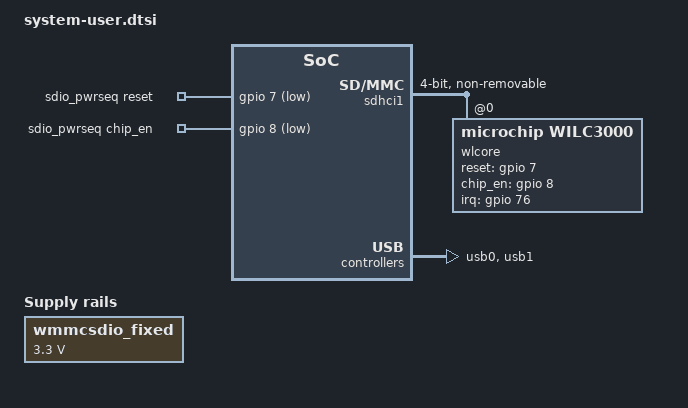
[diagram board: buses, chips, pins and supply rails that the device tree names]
/include/ "system-conf.dtsi"

#include <dt-bindings/interrupt-controller/irq.h>
#include <dt-bindings/gpio/gpio.h>

/ {
	wmmcsdio_fixed: fixedregulator-mmcsdio {
		compatible = "regulator-fixed";
		regulator-name = "wmmcsdio_fixed";
		regulator-min-microvolt = <3300000>;
		regulator-max-microvolt = <3300000>;
		regulator-always-on;
		regulator-boot-on;
	};

	sdio_pwrseq: sdio_pwrseq {
		compatible = "mmc-pwrseq-simple";
		reset-gpios = <&gpio 7 1>;
		chip_en-gpios = <&gpio 8 1>; 
	};
	
	psgtr_usb_clock: psgtr_usb_clock {
		compatible = "fixed-clock";
		#clock-cells = <0>;
		clock-frequency = <26000000>;
	};

	psgtr_dp_clock: psgtr_dp_clock {
		compatible = "fixed-clock";
		#clock-cells = <0>;
		clock-frequency = <27000000>;
	};

	radio_clock: radio_clock {
		compatible = "fixed-clock";
		#clock-cells = <0>;
		clock-frequency = <32768>;
	};
};

/* SD0 only supports 3.3V, no level shifter */
&sdhci0 {
	no-1-8-v;
	disable-wp;
};

&sdhci1 {
	bus-width= <0x4>;
	non-removable;
	disable-wp;
	cap-power-off-card;
	mmc-pwrseq = <&sdio_pwrseq>;
	vqmmc-supply = <&wmmcsdio_fixed>;
	max-frequency = <50000000>;
	status = "okay";
	#address-cells = <1>;
	#size-cells = <0>;
	// wilc_sdio@1 {
	// 	compatible = "microchip,wilc3000";//, "microchip,wilc3000";
	// 	reg = <0>;
	// 	bus-width= <0x4>;
	// 	status = "okay";
	// };
	wlcore: wilc_sdio@0 {
		status = "okay";
		compatible = "microchip,wilc3000";
		reg = <0>;
		interrupt-parent = <&gpio>;
		interrupts = <76 GPIO_ACTIVE_HIGH>;
		clocks = <&radio_clock>;
		clock-names = "rtc";
		reset-gpios = <&gpio 7 GPIO_ACTIVE_HIGH>;
		chip_en-gpios = <&gpio 8 GPIO_ACTIVE_HIGH>;
	};
};

/* USB */
&usb0 {
    status = "okay";
};

&usb1 {
    status = "okay";
};
